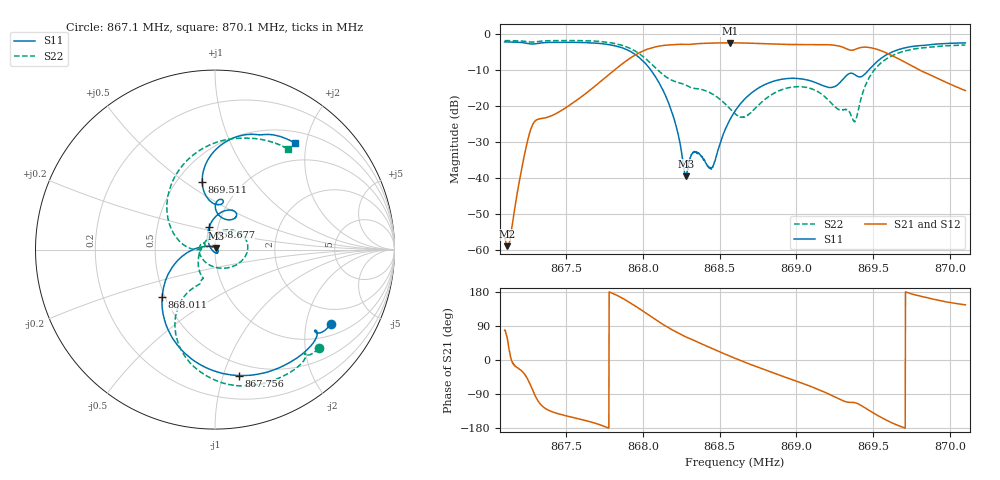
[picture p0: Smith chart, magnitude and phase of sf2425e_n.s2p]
!Keysight Technologies,E5080A,MY55200989,A.11.70.00
!Date: Tuesday, December 06, 2016 22:33:28
!Correction: S11(Full 2 Port(1,2))
!S21(Full 2 Port(1,2))
!S12(Full 2 Port(1,2))
!S22(Full 2 Port(1,2))
!S2P File: Measurements: S11, S21, S12, S22:
# Hz S  dB  R 50
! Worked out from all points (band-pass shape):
!   1601 points, 867.1 MHz to 870.1 MHz, reference 50 ohm
!   highest |S21| = -2.58 dB at 868.566 MHz (marker M1); lowest = -58.9 dB at 867.119 MHz (marker M2)
!   |S21| within 3 dB of the highest: 867.9659 MHz to 869.5963 MHz (1.63 MHz wide, 0.188 % of centre)
!   lowest |S11| = -39.6 dB at 868.281 MHz (marker M3), VSWR 1.02, Z = 50.6 + j0.834 ohm
!   |S11| at or under -10 dB: 868.0501 MHz to 869.4733 MHz (1.423 MHz wide, 0.164 % of centre)
!   |S22| runs from -24.4 to -1.9 dB; largest |S21 - S12| = 0.0018
!   S11 on the Smith chart (normalised r, x): 867.1 MHz: 1.40, -2.79; 867.756 MHz: 0.39, -1.13; 868.011 MHz: 0.48, -0.30; 868.677 MHz: 0.91, +0.24; 869.511 MHz: 0.66, +0.59; 870.1 MHz: 0.68, +1.80
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8.671e8  -2.32 -32.6  -56.69 78.5  -56.57 81.7  -1.96 -43.6
8.671188e8  -2.32 -33.4  -58.93 52.8  -58.88 52.3  -1.96 -44.2
8.672312e8  -2.60 -38.9  -33.16 -37.2  -33.16 -38.0  -2.15 -48.9
8.672838e8  -2.91 -38.9  -25.16 -80.6  -25.15 -80.5  -2.38 -49.1
8.676006e8  -2.49 -59.7  -17.50 -157.3  -17.51 -157.1  -1.97 -66.6
8.677562e8  -2.92 -79.2  -12.19 -176.2  -12.19 -176.2  -2.34 -82.1
8.680112e8  -8.06 -138.1  -4.65 126.0  -4.65 126.1  -6.72 -118.9
8.681012e8  -13.33 -163.9  -3.52 101.5  -3.52 101.6  -10.25 -123.2
8.682006e8  -23.34 166.4  -3.06 77.4  -3.06 77.5  -13.15 -115.7
8.682812e8  -39.58 51.6  -3.01 60.7  -3.01 60.7  -14.32 -113.9
8.683375e8  -32.85 -50.3  -2.88 51.0  -2.87 51.0  -15.22 -112.3
8.684519e8  -37.08 -152.7  -2.64 30.1  -2.64 30.1  -16.72 -127.2
8.685662e8  -23.88 127.5  -2.58 10.3  -2.58 10.3  -20.78 -164.2
8.686e8  -21.54 119.3  -2.59 4.7  -2.59 4.6  -22.22 176.9
8.686769e8  -17.60 103.8  -2.65 -7.9  -2.65 -7.9  -22.78 120.2
8.688925e8  -12.76 72.7  -2.97 -40.5  -2.97 -40.5  -15.77 36.4
8.691006e8  -13.25 57.4  -3.05 -71.0  -3.05 -71.0  -15.37 -14.2
8.693781e8  -11.34 80.1  -4.47 -112.5  -4.46 -112.5  -24.34 159.1
8.695112e8  -8.31 100.6  -4.21 -142.4  -4.21 -142.4  -9.87 145.2
8.696012e8  -5.55 92.3  -5.68 -161.9  -5.67 -162.0  -6.62 118.3
8.697775e8  -3.46 73.0  -9.58 171.3  -9.57 171.2  -4.21 84.1
8.701e8  -2.59 53.1  -15.81 145.6  -15.80 145.4  -3.18 54.0
